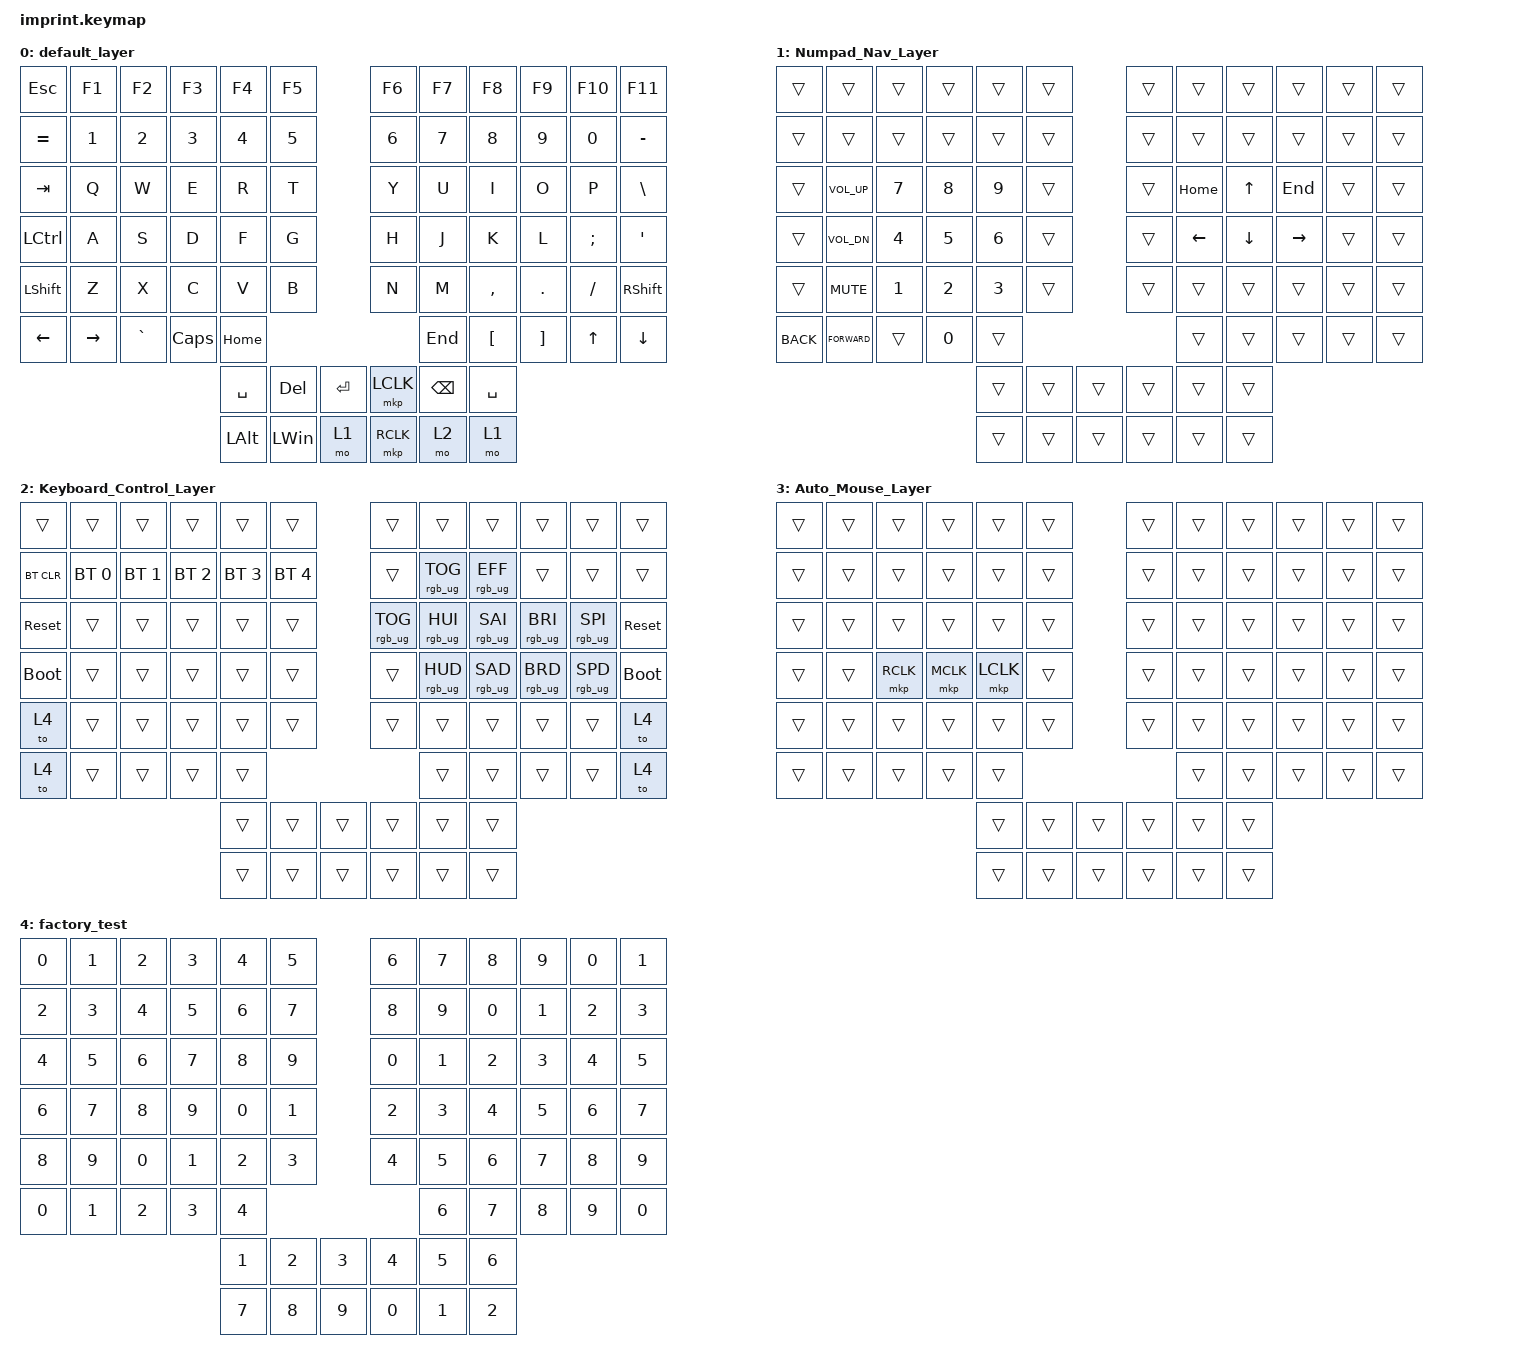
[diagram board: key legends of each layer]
#include <input/processors.dtsi>
#include <dt-bindings/zmk/input_transform.h>
#include <behaviors.dtsi>
#include <dt-bindings/zmk/bt.h>
#include <dt-bindings/zmk/keys.h>
#include <dt-bindings/zmk/pointing.h>
#include <dt-bindings/zmk/rgb.h>

/ {
    chosen { zmk,matrix-transform = &imprint_function_row_full_bottom_row; };

    keymap {
        compatible = "zmk,keymap";

        default_layer {
            bindings = <
&kp ESC    &kp F1     &kp F2     &kp F3    &kp F4        &kp F5                     &kp F6     &kp F7    &kp F8     &kp F9    &kp F10   &kp F11
&kp EQUAL  &kp N1     &kp N2     &kp N3    &kp N4        &kp N5                     &kp N6     &kp N7    &kp N8     &kp N9    &kp N0    &kp MINUS
&kp TAB    &kp Q      &kp W      &kp E     &kp R         &kp T                      &kp Y      &kp U     &kp I      &kp O     &kp P     &kp BSLH
&kp LCTRL  &kp A      &kp S      &kp D     &kp F         &kp G                      &kp H      &kp J     &kp K      &kp L     &kp SEMI  &kp SQT
&kp LSHFT  &kp Z      &kp X      &kp C     &kp V         &kp B                      &kp N      &kp M     &kp COMMA  &kp DOT   &kp FSLH  &kp RSHFT
&kp LEFT   &kp RIGHT  &kp GRAVE  &kp CAPS  &kp HOME                                            &kp END   &kp LBKT   &kp RBKT  &kp UP    &kp DOWN_ARROW
                                           &kp SPACE     &kp DEL       &kp ENTER    &mkp LCLK  &kp BSPC  &kp SPACE
                                           &kp LEFT_ALT  &kp LEFT_WIN  &mo 1        &mkp RCLK  &mo 2     &mo 1
            >;
        };

        Numpad_Nav_Layer {
            bindings = <
&trans      &trans           &trans  &trans  &trans  &trans            &trans  &trans    &trans    &trans     &trans  &trans
&trans      &trans           &trans  &trans  &trans  &trans            &trans  &trans    &trans    &trans     &trans  &trans
&trans      &kp C_VOLUME_UP  &kp N7  &kp N8  &kp N9  &trans            &trans  &kp HOME  &kp UP    &kp END    &trans  &trans
&trans      &kp C_VOL_DN     &kp N4  &kp N5  &kp N6  &trans            &trans  &kp LEFT  &kp DOWN  &kp RIGHT  &trans  &trans
&trans      &kp K_MUTE       &kp N1  &kp N2  &kp N3  &trans            &trans  &trans    &trans    &trans     &trans  &trans
&kp K_BACK  &kp K_FORWARD    &trans  &kp N0  &trans                            &trans    &trans    &trans     &trans  &trans
                                             &trans  &trans  &trans    &trans  &trans    &trans
                                             &trans  &trans  &trans    &trans  &trans    &trans
            >;
        };

        Keyboard_Control_Layer {
            bindings = <
&trans       &trans        &trans        &trans        &trans        &trans                  &trans           &trans           &trans           &trans           &trans           &trans
&bt BT_CLR   &bt BT_SEL 0  &bt BT_SEL 1  &bt BT_SEL 2  &bt BT_SEL 3  &bt BT_SEL 4            &trans           &rgb_ug RGB_TOG  &rgb_ug RGB_EFF  &trans           &trans           &trans
&sys_reset   &trans        &trans        &trans        &trans        &trans                  &rgb_ug RGB_TOG  &rgb_ug RGB_HUI  &rgb_ug RGB_SAI  &rgb_ug RGB_BRI  &rgb_ug RGB_SPI  &sys_reset
&bootloader  &trans        &trans        &trans        &trans        &trans                  &trans           &rgb_ug RGB_HUD  &rgb_ug RGB_SAD  &rgb_ug RGB_BRD  &rgb_ug RGB_SPD  &bootloader
&to 4        &trans        &trans        &trans        &trans        &trans                  &trans           &trans           &trans           &trans           &trans           &to 4
&to 4        &trans        &trans        &trans        &trans                                                 &trans           &trans           &trans           &trans           &to 4
                                                       &trans        &trans        &trans    &trans           &trans           &trans
                                                       &trans        &trans        &trans    &trans           &trans           &trans
            >;
        };

        Auto_Mouse_Layer {
            bindings = <
&trans  &trans  &trans     &trans     &trans     &trans            &trans  &trans  &trans  &trans  &trans  &trans
&trans  &trans  &trans     &trans     &trans     &trans            &trans  &trans  &trans  &trans  &trans  &trans
&trans  &trans  &trans     &trans     &trans     &trans            &trans  &trans  &trans  &trans  &trans  &trans
&trans  &trans  &mkp RCLK  &mkp MCLK  &mkp LCLK  &trans            &trans  &trans  &trans  &trans  &trans  &trans
&trans  &trans  &trans     &trans     &trans     &trans            &trans  &trans  &trans  &trans  &trans  &trans
&trans  &trans  &trans     &trans     &trans                               &trans  &trans  &trans  &trans  &trans
                                      &trans     &trans  &trans    &trans  &trans  &trans
                                      &trans     &trans  &trans    &trans  &trans  &trans
            >;
        };

        factory_test {
            bindings = <
&kp N0  &kp N1  &kp N2  &kp N3  &kp N4  &kp N5            &kp N6  &kp N7  &kp N8  &kp N9  &kp N0  &kp N1
&kp N2  &kp N3  &kp N4  &kp N5  &kp N6  &kp N7            &kp N8  &kp N9  &kp N0  &kp N1  &kp N2  &kp N3
&kp N4  &kp N5  &kp N6  &kp N7  &kp N8  &kp N9            &kp N0  &kp N1  &kp N2  &kp N3  &kp N4  &kp N5
&kp N6  &kp N7  &kp N8  &kp N9  &kp N0  &kp N1            &kp N2  &kp N3  &kp N4  &kp N5  &kp N6  &kp N7
&kp N8  &kp N9  &kp N0  &kp N1  &kp N2  &kp N3            &kp N4  &kp N5  &kp N6  &kp N7  &kp N8  &kp N9
&kp N0  &kp N1  &kp N2  &kp N3  &kp N4                            &kp N6  &kp N7  &kp N8  &kp N9  &kp N0
                                &kp N1  &kp N2  &kp N3    &kp N4  &kp N5  &kp N6
                                &kp N7  &kp N8  &kp N9    &kp N0  &kp N1  &kp N2
            >;
        };
    };
};

// right hand trackball configuration
// &trackball_peripheral_listener {
//    input-processors =
//     activate layer 3 within 500ms of the trackball moving
//     <&zip_temp_layer 3 500>;
// };
//left hand trackball configuration

&trackball_central_listener {
    input-processors =
        // multiply sensitivity by 1, divide by 3 (make it slower for scrolling),,,,,,,
        <&zip_xy_scaler 1 16>,
        // make this trackball output scrolling events by default instead of cursor movement,,,,,,,
        <&zip_xy_to_scroll_mapper>,
        // invert vertical scrolling so that the view moves in the same direction as the top of the trackball.,,,,,,,
        <&zip_scroll_transform INPUT_TRANSFORM_Y_INVERT>;
};
